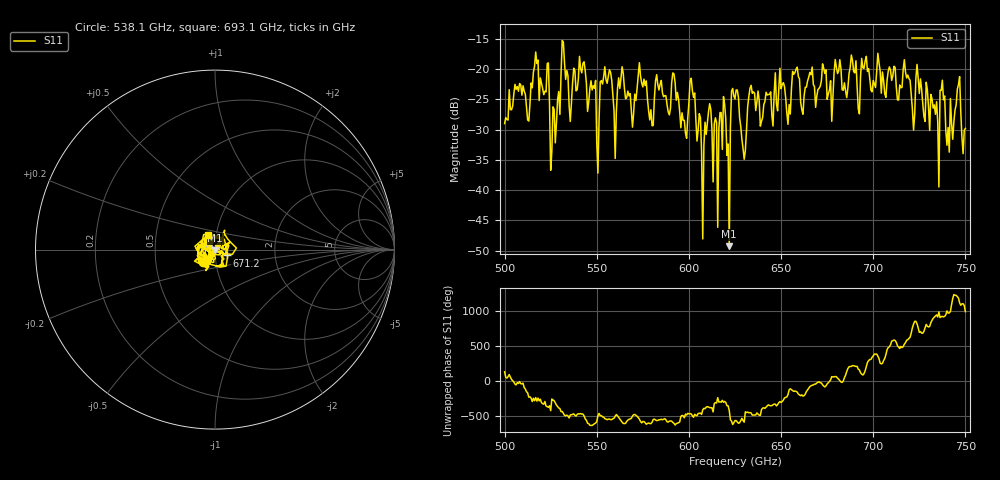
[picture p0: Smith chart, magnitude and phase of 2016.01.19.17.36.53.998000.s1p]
!Created with skrf (http://scikit-rf.org).
# GHz S RI R 50.0
!freq ReS11 ImS11
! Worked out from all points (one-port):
!   401 points, 500 GHz to 750 GHz, reference 50 ohm
!   lowest |S11| = -49.2 dB at 621.9 GHz (marker M1), VSWR 1.01, Z = 50.2 - j0.308 ohm
!   |S11| at or under -10 dB: start of sweep to end of sweep
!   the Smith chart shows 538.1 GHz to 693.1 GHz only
!   S11 on the Smith chart (normalised r, x): 538.1 GHz: 0.87, -0.12; 671.2 GHz: 1.14, -0.07; 693.1 GHz: 0.91, +0.14
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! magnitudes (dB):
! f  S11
! 500 GHz  -29.0
! 516.9 GHz  -17.2
! 526.2 GHz  -26.2
! 531.2 GHz  -15.3
! 538.1 GHz  -20.2
! 550 GHz  -32.1
! 553.1 GHz  -22.4
! 560 GHz  -34.7
! 562.5 GHz  -23.2
! 593.8 GHz  -23.8
! 598.1 GHz  -30.6
! 601.9 GHz  -23.5
! 608.1 GHz  -32.6
! 611.2 GHz  -25.7
! 621.9 GHz  -49.2
! 625 GHz  -24.9
! 630 GHz  -34.9
! 633.8 GHz  -22.7
! 656.2 GHz  -20.4
! 671.2 GHz  -22.8
! 687.5 GHz  -19.7
! 693.1 GHz  -21.1
! 718.8 GHz  -21.0
! 734.4 GHz  -25.4
! 737.5 GHz  -21.8
! 740.6 GHz  -29.6
! 746.2 GHz  -22.5
! 750 GHz  -29.8
